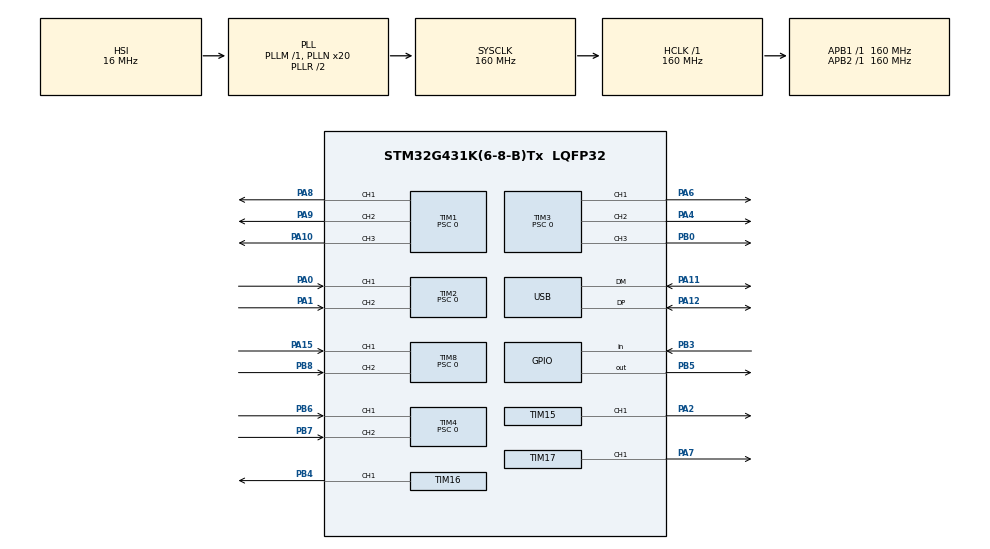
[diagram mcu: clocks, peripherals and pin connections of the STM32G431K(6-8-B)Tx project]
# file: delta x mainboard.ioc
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Mcu.Family=STM32G4
Mcu.Name=STM32G431K(6-8-B)Tx
Mcu.Package=LQFP32
NVIC.PriorityGroup=NVIC_PRIORITYGROUP_4
NVIC.TIM7_IRQn=true\:0\:0\:false\:false\:true\:true\:true
NVIC.USB_LP_IRQn=true\:0\:0\:false\:false\:true\:false\:true
PA0.Signal=S_TIM2_CH1
PA1.Signal=S_TIM2_CH2
PA10.Signal=S_TIM1_CH3
PA11.Mode=Device
PA11.Signal=USB_DM
PA12.Mode=Device
PA12.Signal=USB_DP
PA13.Mode=Serial_Wire
PA13.Signal=SYS_JTMS-SWDIO
PA14.Mode=Serial_Wire
PA14.Signal=SYS_JTCK-SWCLK
PA15.Signal=S_TIM8_CH1
PA2.Signal=S_TIM15_CH1
PA4.Signal=S_TIM3_CH2
PA6.Signal=S_TIM3_CH1
PA7.Signal=S_TIM17_CH1
PA8.Signal=S_TIM1_CH1
PA9.Signal=S_TIM1_CH2
PB0.Signal=S_TIM3_CH3
PB3.Signal=GPIO_Input
PB4.Signal=S_TIM16_CH1
PB5.Signal=GPIO_Output
PB6.Signal=S_TIM4_CH1
PB7.Signal=S_TIM4_CH2
PB8-BOOT0.Signal=S_TIM8_CH2
ProjectManager.HeapSize=0x200
ProjectManager.StackSize=0x400
ProjectManager.TargetToolchain=STM32CubeIDE
RCC.ADC12Freq_Value=160000000
RCC.AHBFreq_Value=160000000
RCC.APB1Freq_Value=160000000
RCC.APB1TimFreq_Value=160000000
RCC.APB2Freq_Value=160000000
RCC.APB2TimFreq_Value=160000000
RCC.CK48CLockSelection=RCC_USBCLKSOURCE_HSI48
RCC.CortexFreq_Value=160000000
RCC.EXTERNAL_CLOCK_VALUE=12288000
RCC.HCLKFreq_Value=160000000
RCC.HSE_VALUE=8000000
RCC.HSI48_VALUE=48000000
RCC.HSI_VALUE=16000000
RCC.LSE_VALUE=32768
RCC.PLLN=20
RCC.SYSCLKFreq_VALUE=160000000
RCC.SYSCLKSource=RCC_SYSCLKSOURCE_PLLCLK
RCC.USBFreq_Value=48000000
RCC.VCOOutputFreq_Value=320000000
SH.S_TIM15_CH1.0=TIM15_CH1,PWM Generation1 CH1
SH.S_TIM16_CH1.0=TIM16_CH1,PWM Generation1 CH1
SH.S_TIM17_CH1.0=TIM17_CH1,PWM Generation1 CH1
SH.S_TIM1_CH1.0=TIM1_CH1,PWM Generation1 CH1
SH.S_TIM1_CH2.0=TIM1_CH2,PWM Generation2 CH2
SH.S_TIM1_CH3.0=TIM1_CH3,PWM Generation3 CH3
SH.S_TIM2_CH1.0=TIM2_CH1,Encoder_Interface
SH.S_TIM2_CH2.0=TIM2_CH2,Encoder_Interface
SH.S_TIM3_CH1.0=TIM3_CH1,PWM Generation1 CH1
SH.S_TIM3_CH2.0=TIM3_CH2,PWM Generation2 CH2
SH.S_TIM3_CH3.0=TIM3_CH3,PWM Generation3 CH3
SH.S_TIM4_CH1.0=TIM4_CH1,Encoder_Interface
SH.S_TIM4_CH2.0=TIM4_CH2,Encoder_Interface
SH.S_TIM8_CH1.0=TIM8_CH1,Encoder_Interface
SH.S_TIM8_CH2.0=TIM8_CH2,Encoder_Interface
TIM1.Channel-PWM\ Generation1\ CH1=TIM_CHANNEL_1
TIM1.Channel-PWM\ Generation2\ CH2=TIM_CHANNEL_2
TIM1.Channel-PWM\ Generation3\ CH3=TIM_CHANNEL_3
TIM1.CounterMode=TIM_COUNTERMODE_UP
TIM1.Prescaler=0
TIM15.Channel-PWM\ Generation1\ CH1=TIM_CHANNEL_1
TIM15.Prescaler=0
TIM16.Channel=TIM_CHANNEL_1
TIM16.PeriodNoDither=65300
TIM16.Prescaler=48
TIM16.PulseNoDither_1=0
TIM17.Channel=TIM_CHANNEL_1
TIM17.PeriodNoDither=65300
TIM17.Prescaler=48
TIM2.EncoderMode=TIM_ENCODERMODE_TI12
TIM2.PeriodNoDither=65535
TIM2.Prescaler=0
TIM3.Channel-PWM\ Generation1\ CH1=TIM_CHANNEL_1
TIM3.Channel-PWM\ Generation2\ CH2=TIM_CHANNEL_2
TIM3.Channel-PWM\ Generation3\ CH3=TIM_CHANNEL_3
TIM3.Prescaler=0
TIM4.EncoderMode=TIM_ENCODERMODE_TI12
TIM4.Prescaler=0
TIM7.PeriodNoDither=63500
TIM7.Prescaler=20
TIM8.EncoderMode=TIM_ENCODERMODE_TI12
TIM8.Prescaler=0
USB_DEVICE.CLASS_NAME_FS=CDC
USB_DEVICE.VirtualMode=Cdc
USB_DEVICE.VirtualModeFS=Cdc_FS
VP_SYS_VS_DBSignals.Mode=DisableDeadBatterySignals
VP_TIM16_VS_ClockSourceINT.Mode=Enable_Timer
VP_TIM17_VS_ClockSourceINT.Mode=Enable_Timer
VP_TIM7_VS_ClockSourceINT.Mode=Enable_Timer
VP_USB_DEVICE_VS_USB_DEVICE_CDC_FS.Mode=CDC_FS
board=custom

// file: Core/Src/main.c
/* USER CODE BEGIN Header */
/**
 ******************************************************************************
 * @file           : main.c
 * @brief          : Main program body
 ******************************************************************************
 * @attention
 *
 * <h2><center>&copy; Copyright (c) 2020 STMicroelectronics.
 * All rights reserved.</center></h2>
 *
 * This software component is licensed by ST under BSD 3-Clause license,
 * the "License"; You may not use this file except in compliance with the
 * License. You may obtain a copy of the License at:
 *                        opensource.org/licenses/BSD-3-Clause
 *
 ******************************************************************************
 */
/* USER CODE END Header */
#include "main.h"
#include "usb_device.h"

TIM_HandleTypeDef htim1;
TIM_HandleTypeDef htim2;
TIM_HandleTypeDef htim3;
TIM_HandleTypeDef htim4;
TIM_HandleTypeDef htim7;
TIM_HandleTypeDef htim8;
TIM_HandleTypeDef htim15;
TIM_HandleTypeDef htim16;
TIM_HandleTypeDef htim17;

void SystemClock_Config(void);
static void MX_GPIO_Init(void);
static void MX_TIM4_Init(void);
static void MX_TIM8_Init(void);
static void MX_TIM15_Init(void);
static void MX_TIM16_Init(void);
static void MX_TIM1_Init(void);
static void MX_TIM2_Init(void);
static void MX_TIM3_Init(void);
static void MX_TIM7_Init(void);
static void MX_TIM17_Init(void);

/* USER CODE BEGIN 0 */

typedef struct Command {
	float motor1;
	float motor2;
	float motor3;
	float thrower;
	float servo;
	int32_t ir;
	float pGain;
	float iGain;
	float dGain;
	int32_t pid_type;
	int32_t delimiter;
} Command;

Command command, feedback;

volatile uint8_t command_received = 0;
volatile uint8_t command_received_ticker = 0;

volatile float pGain, iGain, dGain = 0;

void CDC_On_Receive(uint8_t *buffer, uint32_t *length) {
	if (*length == sizeof(Command)) {
		memcpy(&command, buffer, sizeof(Command));

		if (command.delimiter == 0xABCABC) {
			command_received = 1;
		}
	}
}

inline void Set_Motor_Speed_f(volatile uint32_t *channel_a,
		volatile uint32_t *channel_b, float motor_speed) {
	if (fabs(0 - motor_speed) > 0.1) {
		if (motor_speed > 0) {
			// forward
			if (motor_speed > 100) {
				motor_speed = 100;
			}
			*channel_a = motor_speed * 65000.0 / 100.0;
			*channel_b = 0;
		} else if (motor_speed < 0) {
			// backward
			if (motor_speed < -100) {
				motor_speed = -100;
			}
			*channel_b = motor_speed * -(65000.0 / 100.0);
			*channel_a = 0;
		}
	} else {
		// stop
		*channel_a = 0;
		*channel_b = 0;
	}
}

inline void Set_Thrower_Speed(volatile uint32_t *channel_a, float thrower_speed) {
	if (thrower_speed > 0) {
		// forward
		if (thrower_speed <= ESC_MAX_SPEED) {
			// 0 to 100 compact range
			*channel_a = thrower_speed * ESC_CO + ESC_MIN_CCR;
		}
	} else {
		// stop
		*channel_a = ESC_IDLE_CCR;
	}
}

inline void Set_Servo_Speed(volatile uint32_t *channel_a, float servo_speed,
		GPIO_PinState ir_status, int32_t ir_control) {
	if (!ir_status || (ir_status && ir_control)) {
		if (servo_speed > 0 && servo_speed <= SERVO_MAX_SPEED) {
			*channel_a = SERVO_IN_MIN_CCR - command.servo * SERVO_CO;
		} else if (command.servo < 0 && servo_speed >= -SERVO_MAX_SPEED) {
			*channel_a = command.servo * -SERVO_CO + SERVO_OUT_MIN_CCR;
		} else {
			*channel_a = 0;
		}
	}
}

Motor motor1;
Motor motor2;
Motor motor3;

inline void Calculate_PID(Motor *motor) {
// based on "PID Without a PhD" by Tim Wescott
// https://www.embeddedrelated.com/showarticle/943.php
	if (motor->target_speed > 0.1 || motor->target_speed < -0.1) {
		float pTerm, iTerm, dTerm;
//		if (command.pid_type == 0) {
//			pGain = 1;
//			iGain = 0.005;
//			dGain = 5;
//		} else {
//			pGain = 1;
//			iGain = 0.001;
//			dGain = 10;
//		}
		pGain = command.pGain;
		iGain = command.iGain;
		dGain = command.dGain;

		int error = 0;
		if (command.pid_type == 0) {
			error = motor->target_speed - motor->cur_enc_speed;
		} else {
			error = motor->target_speed - motor->enc_speed_hist_avg;
		}
		pTerm = error * pGain;

		motor->err_sum += error;
		motor->err_sum = clamp(-1000, 1000, motor->err_sum);
		iTerm = iGain * motor->err_sum;

		dTerm = dGain * (motor->prev_speed - motor->cur_enc_speed);
		motor->prev_speed = motor->cur_enc_speed;
		motor->cur_speed = motor->cur_speed + pTerm + iTerm + dTerm;
		motor->cur_speed = clamp(-100, 100, motor->cur_speed);
	} else {
		motor->cur_speed = 0;
	}
}

inline int Calculate_Encoder_Diff(uint16_t prev_pos, uint16_t cur_pos) {
	int diff = 0;
	if (prev_pos > ENCODER_QUADRANT_3 && cur_pos < ENCODER_QUADRANT) {
		// encoder counter overflow from high to low
		diff = 65535 - prev_pos + cur_pos;
	} else if (prev_pos < ENCODER_QUADRANT && cur_pos > ENCODER_QUADRANT_3) {
		// encoder counter overflow from low to high
		diff = -65535 + cur_pos - prev_pos;
	} else {
		// encoder didn't overflow
		diff = cur_pos - prev_pos;
	}
	return diff;	// clamp(-200, 200, diff) / 2;
}

void Handle_Encoder(Motor *motor, uint16_t count) {
	motor->cur_pos = count;
	motor->cur_enc_speed = Calculate_Encoder_Diff(motor->prev_pos,
			motor->cur_pos);
	motor->prev_pos = motor->cur_pos;

	motor->enc_speed_hist[motor->enc_speed_hist_cnt] = motor->cur_enc_speed;
	if (motor->enc_speed_hist_cnt >= 9) {
		motor->enc_speed_hist_cnt = 0;
	} else {
		motor->enc_speed_hist_cnt += 1;
	}

	int sum = 0;
	for (int i = 0; i < 10; i++) {
		sum += motor->enc_speed_hist[i];
	}
	motor->enc_speed_hist_avg = sum / 10;
}

/* USER CODE END 0 */

int main(void) {

	/* MCU Configuration--------------------------------------------------------*/

	/* Reset of all peripherals, Initializes the Flash interface and the Systick. */
	HAL_Init();

	/* Configure the system clock */
	SystemClock_Config();

	/* Initialize all configured peripherals */
	MX_GPIO_Init();
	MX_TIM4_Init();
	MX_TIM8_Init();
	MX_TIM15_Init();
	MX_TIM16_Init();
	MX_TIM1_Init();
	MX_TIM2_Init();
	MX_TIM3_Init();
	MX_TIM7_Init();
	MX_TIM17_Init();
	MX_USB_Device_Init();
	/* USER CODE BEGIN 2 */

	HAL_TIM_Encoder_Start(&htim2, TIM_CHANNEL_1 | TIM_CHANNEL_2);
	HAL_TIM_Encoder_Start(&htim4, TIM_CHANNEL_1 | TIM_CHANNEL_2);
	HAL_TIM_Encoder_Start(&htim8, TIM_CHANNEL_1 | TIM_CHANNEL_2);

	HAL_TIM_PWM_Start(&htim1, TIM_CHANNEL_1);
	HAL_TIM_PWM_Start(&htim1, TIM_CHANNEL_2);
	HAL_TIM_PWM_Start(&htim1, TIM_CHANNEL_3);
	TIM1->CCR1 = 0;
	TIM1->CCR2 = 0;
	TIM1->CCR3 = 0;

	HAL_TIM_PWM_Start(&htim3, TIM_CHANNEL_1);
	HAL_TIM_PWM_Start(&htim3, TIM_CHANNEL_2);
	HAL_TIM_PWM_Start(&htim3, TIM_CHANNEL_3);
	TIM3->CCR1 = 0;
	TIM3->CCR2 = 0;
	TIM3->CCR3 = 0;

	HAL_TIM_PWM_Start(&htim15, TIM_CHANNEL_1);
	HAL_TIM_PWM_Start(&htim16, TIM_CHANNEL_1);
	HAL_TIM_PWM_Start(&htim17, TIM_CHANNEL_1);
	TIM15->CCR1 = 0;
	TIM16->CCR1 = ESC_IDLE_CCR;
	TIM17->CCR1 = 0;

	HAL_TIM_Base_Start_IT(&htim7);

	CoreDebug->DEMCR |= CoreDebug_DEMCR_TRCENA_Msk;
	DWT->CYCCNT = 0;
	DWT->CTRL |= DWT_CTRL_CYCCNTENA_Msk;

	/* USER CODE END 2 */

	/* Infinite loop */
	while (1) {

		/* USER CODE BEGIN 3 */
		if (command_received == 1) {
			command_received = 0;
			command_received_ticker = 140;

			// toggle led
			HAL_GPIO_TogglePin(GPIOB, GPIO_PIN_5);

			feedback.ir = HAL_GPIO_ReadPin(GPIOB, GPIO_PIN_3);

			if (fabs(0 - command.motor1) < 0.1) {
				motor1.err_sum = 0;
			}
			if (fabs(0 - command.motor2) < 0.1) {
				motor2.err_sum = 0;
			}
			if (fabs(0 - command.motor3) < 0.1) {
				motor3.err_sum = 0;
			}
			motor1.target_speed = command.motor1;
			motor2.target_speed = command.motor2;
			motor3.target_speed = command.motor3;
//			pGain = command.pGain;
//			iGain = command.iGain;
//			dGain = command.dGain;

			Set_Thrower_Speed(&(TIM16->CCR1), command.thrower);

			Set_Servo_Speed(&(TIM17->CCR1), command.servo,
					HAL_GPIO_ReadPin(GPIOB, GPIO_PIN_3), command.ir);

			CDC_Transmit_FS(&feedback, sizeof(feedback));
		}
	}
	/* USER CODE END 3 */
}

void SystemClock_Config(void) {
	RCC_OscInitTypeDef RCC_OscInitStruct = { 0 };
	RCC_ClkInitTypeDef RCC_ClkInitStruct = { 0 };
	RCC_PeriphCLKInitTypeDef PeriphClkInit = { 0 };

	/** Configure the main internal regulator output voltage
	 */
	HAL_PWREx_ControlVoltageScaling(PWR_REGULATOR_VOLTAGE_SCALE1_BOOST);
	/** Initializes the RCC Oscillators according to the specified parameters
	 * in the RCC_OscInitTypeDef structure.
	 */
	RCC_OscInitStruct.OscillatorType = RCC_OSCILLATORTYPE_HSI
			| RCC_OSCILLATORTYPE_HSI48;
	RCC_OscInitStruct.HSIState = RCC_HSI_ON;
	RCC_OscInitStruct.HSICalibrationValue = RCC_HSICALIBRATION_DEFAULT;
	RCC_OscInitStruct.HSI48State = RCC_HSI48_ON;
	RCC_OscInitStruct.PLL.PLLState = RCC_PLL_ON;
	RCC_OscInitStruct.PLL.PLLSource = RCC_PLLSOURCE_HSI;
	RCC_OscInitStruct.PLL.PLLM = RCC_PLLM_DIV1;
	RCC_OscInitStruct.PLL.PLLN = 20;
	RCC_OscInitStruct.PLL.PLLP = RCC_PLLP_DIV2;
	RCC_OscInitStruct.PLL.PLLQ = RCC_PLLQ_DIV2;
	RCC_OscInitStruct.PLL.PLLR = RCC_PLLR_DIV2;
	if (HAL_RCC_OscConfig(&RCC_OscInitStruct) != HAL_OK) {
		Error_Handler();
	}
	/** Initializes the CPU, AHB and APB buses clocks
	 */
	RCC_ClkInitStruct.ClockType = RCC_CLOCKTYPE_HCLK | RCC_CLOCKTYPE_SYSCLK
			| RCC_CLOCKTYPE_PCLK1 | RCC_CLOCKTYPE_PCLK2;
	RCC_ClkInitStruct.SYSCLKSource = RCC_SYSCLKSOURCE_PLLCLK;
	RCC_ClkInitStruct.AHBCLKDivider = RCC_SYSCLK_DIV1;
	RCC_ClkInitStruct.APB1CLKDivider = RCC_HCLK_DIV1;
	RCC_ClkInitStruct.APB2CLKDivider = RCC_HCLK_DIV1;

	if (HAL_RCC_ClockConfig(&RCC_ClkInitStruct, FLASH_LATENCY_4) != HAL_OK) {
		Error_Handler();
	}
	/** Initializes the peripherals clocks
	 */
	PeriphClkInit.PeriphClockSelection = RCC_PERIPHCLK_USB;
	PeriphClkInit.UsbClockSelection = RCC_USBCLKSOURCE_HSI48;
	if (HAL_RCCEx_PeriphCLKConfig(&PeriphClkInit) != HAL_OK) {
		Error_Handler();
	}
}

static void MX_TIM1_Init(void) {

	TIM_MasterConfigTypeDef sMasterConfig = { 0 };
	TIM_OC_InitTypeDef sConfigOC = { 0 };
	TIM_BreakDeadTimeConfigTypeDef sBreakDeadTimeConfig = { 0 };

	htim1.Instance = TIM1;
	htim1.Init.Prescaler = 0;
	htim1.Init.CounterMode = TIM_COUNTERMODE_UP;
	htim1.Init.Period = 65535;
	htim1.Init.ClockDivision = TIM_CLOCKDIVISION_DIV1;
	htim1.Init.RepetitionCounter = 0;
	htim1.Init.AutoReloadPreload = TIM_AUTORELOAD_PRELOAD_DISABLE;
	if (HAL_TIM_PWM_Init(&htim1) != HAL_OK) {
		Error_Handler();
	}
	sMasterConfig.MasterOutputTrigger = TIM_TRGO_RESET;
	sMasterConfig.MasterOutputTrigger2 = TIM_TRGO2_RESET;
	sMasterConfig.MasterSlaveMode = TIM_MASTERSLAVEMODE_DISABLE;
	if (HAL_TIMEx_MasterConfigSynchronization(&htim1, &sMasterConfig)
			!= HAL_OK) {
		Error_Handler();
	}
	sConfigOC.OCMode = TIM_OCMODE_PWM1;
	sConfigOC.Pulse = 0;
	sConfigOC.OCPolarity = TIM_OCPOLARITY_HIGH;
	sConfigOC.OCNPolarity = TIM_OCNPOLARITY_HIGH;
	sConfigOC.OCFastMode = TIM_OCFAST_DISABLE;
	sConfigOC.OCIdleState = TIM_OCIDLESTATE_RESET;
	sConfigOC.OCNIdleState = TIM_OCNIDLESTATE_RESET;
	if (HAL_TIM_PWM_ConfigChannel(&htim1, &sConfigOC, TIM_CHANNEL_1)
			!= HAL_OK) {
		Error_Handler();
	}
	sConfigOC.Pulse = 0;
	if (HAL_TIM_PWM_ConfigChannel(&htim1, &sConfigOC, TIM_CHANNEL_2)
			!= HAL_OK) {
		Error_Handler();
	}
	sConfigOC.Pulse = 0;
	if (HAL_TIM_PWM_ConfigChannel(&htim1, &sConfigOC, TIM_CHANNEL_3)
			!= HAL_OK) {
		Error_Handler();
	}
	sBreakDeadTimeConfig.OffStateRunMode = TIM_OSSR_DISABLE;
	sBreakDeadTimeConfig.OffStateIDLEMode = TIM_OSSI_DISABLE;
	sBreakDeadTimeConfig.LockLevel = TIM_LOCKLEVEL_OFF;
	sBreakDeadTimeConfig.DeadTime = 0;
	sBreakDeadTimeConfig.BreakState = TIM_BREAK_DISABLE;
	sBreakDeadTimeConfig.BreakPolarity = TIM_BREAKPOLARITY_HIGH;
	sBreakDeadTimeConfig.BreakFilter = 0;
	sBreakDeadTimeConfig.BreakAFMode = TIM_BREAK_AFMODE_INPUT;
	sBreakDeadTimeConfig.Break2State = TIM_BREAK2_DISABLE;
	sBreakDeadTimeConfig.Break2Polarity = TIM_BREAK2POLARITY_HIGH;
	sBreakDeadTimeConfig.Break2Filter = 0;
	sBreakDeadTimeConfig.Break2AFMode = TIM_BREAK_AFMODE_INPUT;
	sBreakDeadTimeConfig.AutomaticOutput = TIM_AUTOMATICOUTPUT_DISABLE;
	if (HAL_TIMEx_ConfigBreakDeadTime(&htim1, &sBreakDeadTimeConfig)
			!= HAL_OK) {
		Error_Handler();
	}
	HAL_TIM_MspPostInit(&htim1);

}

static void MX_TIM2_Init(void) {

	TIM_Encoder_InitTypeDef sConfig = { 0 };
	TIM_MasterConfigTypeDef sMasterConfig = { 0 };

	htim2.Instance = TIM2;
	htim2.Init.Prescaler = 0;
	htim2.Init.CounterMode = TIM_COUNTERMODE_UP;
	htim2.Init.Period = 65535;
	htim2.Init.ClockDivision = TIM_CLOCKDIVISION_DIV1;
	htim2.Init.AutoReloadPreload = TIM_AUTORELOAD_PRELOAD_DISABLE;
	sConfig.EncoderMode = TIM_ENCODERMODE_TI12;
	sConfig.IC1Polarity = TIM_ICPOLARITY_RISING;
	sConfig.IC1Selection = TIM_ICSELECTION_DIRECTTI;
	sConfig.IC1Prescaler = TIM_ICPSC_DIV1;
	sConfig.IC1Filter = 0;
	sConfig.IC2Polarity = TIM_ICPOLARITY_RISING;
	sConfig.IC2Selection = TIM_ICSELECTION_DIRECTTI;
	sConfig.IC2Prescaler = TIM_ICPSC_DIV1;
	sConfig.IC2Filter = 0;
	if (HAL_TIM_Encoder_Init(&htim2, &sConfig) != HAL_OK) {
		Error_Handler();
	}
	sMasterConfig.MasterOutputTrigger = TIM_TRGO_RESET;
	sMasterConfig.MasterSlaveMode = TIM_MASTERSLAVEMODE_DISABLE;
	if (HAL_TIMEx_MasterConfigSynchronization(&htim2, &sMasterConfig)
			!= HAL_OK) {
		Error_Handler();
	}

}

static void MX_TIM3_Init(void) {

	TIM_MasterConfigTypeDef sMasterConfig = { 0 };
	TIM_OC_InitTypeDef sConfigOC = { 0 };

	htim3.Instance = TIM3;
	htim3.Init.Prescaler = 0;
	htim3.Init.CounterMode = TIM_COUNTERMODE_UP;
	htim3.Init.Period = 65535;
	htim3.Init.ClockDivision = TIM_CLOCKDIVISION_DIV1;
	htim3.Init.AutoReloadPreload = TIM_AUTORELOAD_PRELOAD_DISABLE;
	if (HAL_TIM_PWM_Init(&htim3) != HAL_OK) {
		Error_Handler();
	}
	sMasterConfig.MasterOutputTrigger = TIM_TRGO_RESET;
	sMasterConfig.MasterSlaveMode = TIM_MASTERSLAVEMODE_DISABLE;
	if (HAL_TIMEx_MasterConfigSynchronization(&htim3, &sMasterConfig)
			!= HAL_OK) {
		Error_Handler();
	}
	sConfigOC.OCMode = TIM_OCMODE_PWM1;
	sConfigOC.Pulse = 0;
	sConfigOC.OCPolarity = TIM_OCPOLARITY_HIGH;
	sConfigOC.OCFastMode = TIM_OCFAST_DISABLE;
	if (HAL_TIM_PWM_ConfigChannel(&htim3, &sConfigOC, TIM_CHANNEL_1)
			!= HAL_OK) {
		Error_Handler();
	}
	sConfigOC.Pulse = 0;
	if (HAL_TIM_PWM_ConfigChannel(&htim3, &sConfigOC, TIM_CHANNEL_2)
			!= HAL_OK) {
		Error_Handler();
	}
	sConfigOC.Pulse = 0;
	if (HAL_TIM_PWM_ConfigChannel(&htim3, &sConfigOC, TIM_CHANNEL_3)
			!= HAL_OK) {
		Error_Handler();
	}
	HAL_TIM_MspPostInit(&htim3);

}

static void MX_TIM4_Init(void) {

	TIM_Encoder_InitTypeDef sConfig = { 0 };
	TIM_MasterConfigTypeDef sMasterConfig = { 0 };

	htim4.Instance = TIM4;
	htim4.Init.Prescaler = 0;
	htim4.Init.CounterMode = TIM_COUNTERMODE_UP;
	htim4.Init.Period = 65535;
	htim4.Init.ClockDivision = TIM_CLOCKDIVISION_DIV1;
	htim4.Init.AutoReloadPreload = TIM_AUTORELOAD_PRELOAD_DISABLE;
	sConfig.EncoderMode = TIM_ENCODERMODE_TI12;
	sConfig.IC1Polarity = TIM_ICPOLARITY_RISING;
	sConfig.IC1Selection = TIM_ICSELECTION_DIRECTTI;
	sConfig.IC1Prescaler = TIM_ICPSC_DIV1;
	sConfig.IC1Filter = 0;
	sConfig.IC2Polarity = TIM_ICPOLARITY_RISING;
	sConfig.IC2Selection = TIM_ICSELECTION_DIRECTTI;
	sConfig.IC2Prescaler = TIM_ICPSC_DIV1;
	sConfig.IC2Filter = 0;
	if (HAL_TIM_Encoder_Init(&htim4, &sConfig) != HAL_OK) {
		Error_Handler();
	}
	sMasterConfig.MasterOutputTrigger = TIM_TRGO_RESET;
	sMasterConfig.MasterSlaveMode = TIM_MASTERSLAVEMODE_DISABLE;
	if (HAL_TIMEx_MasterConfigSynchronization(&htim4, &sMasterConfig)
			!= HAL_OK) {
		Error_Handler();
	}

}

static void MX_TIM7_Init(void) {

	TIM_MasterConfigTypeDef sMasterConfig = { 0 };

	htim7.Instance = TIM7;
	htim7.Init.Prescaler = 20;
	htim7.Init.CounterMode = TIM_COUNTERMODE_UP;
	htim7.Init.Period = 63500;
	htim7.Init.AutoReloadPreload = TIM_AUTORELOAD_PRELOAD_DISABLE;
	if (HAL_TIM_Base_Init(&htim7) != HAL_OK) {
		Error_Handler();
	}
	sMasterConfig.MasterOutputTrigger = TIM_TRGO_RESET;
	sMasterConfig.MasterSlaveMode = TIM_MASTERSLAVEMODE_DISABLE;
	if (HAL_TIMEx_MasterConfigSynchronization(&htim7, &sMasterConfig)
			!= HAL_OK) {
		Error_Handler();
	}

}

static void MX_TIM8_Init(void) {

	TIM_Encoder_InitTypeDef sConfig = { 0 };
	TIM_MasterConfigTypeDef sMasterConfig = { 0 };
	TIM_BreakDeadTimeConfigTypeDef sBreakDeadTimeConfig = { 0 };

	htim8.Instance = TIM8;
	htim8.Init.Prescaler = 0;
	htim8.Init.CounterMode = TIM_COUNTERMODE_UP;
	htim8.Init.Period = 65535;
	htim8.Init.ClockDivision = TIM_CLOCKDIVISION_DIV1;
	htim8.Init.RepetitionCounter = 0;
	htim8.Init.AutoReloadPreload = TIM_AUTORELOAD_PRELOAD_DISABLE;
	sConfig.EncoderMode = TIM_ENCODERMODE_TI12;
	sConfig.IC1Polarity = TIM_ICPOLARITY_RISING;
	sConfig.IC1Selection = TIM_ICSELECTION_DIRECTTI;
	sConfig.IC1Prescaler = TIM_ICPSC_DIV1;
	sConfig.IC1Filter = 0;
	sConfig.IC2Polarity = TIM_ICPOLARITY_RISING;
	sConfig.IC2Selection = TIM_ICSELECTION_DIRECTTI;
	sConfig.IC2Prescaler = TIM_ICPSC_DIV1;
	sConfig.IC2Filter = 0;
	if (HAL_TIM_Encoder_Init(&htim8, &sConfig) != HAL_OK) {
		Error_Handler();
	}
	sMasterConfig.MasterOutputTrigger = TIM_TRGO_RESET;
	sMasterConfig.MasterOutputTrigger2 = TIM_TRGO2_RESET;
	sMasterConfig.MasterSlaveMode = TIM_MASTERSLAVEMODE_DISABLE;
	if (HAL_TIMEx_MasterConfigSynchronization(&htim8, &sMasterConfig)
			!= HAL_OK) {
		Error_Handler();
	}
	sBreakDeadTimeConfig.BreakAFMode = TIM_BREAK_AFMODE_INPUT;
	sBreakDeadTimeConfig.Break2AFMode = TIM_BREAK_AFMODE_INPUT;
	if (HAL_TIMEx_ConfigBreakDeadTime(&htim8, &sBreakDeadTimeConfig)
			!= HAL_OK) {
		Error_Handler();
	}

}

static void MX_TIM15_Init(void) {

	TIM_MasterConfigTypeDef sMasterConfig = { 0 };
	TIM_OC_InitTypeDef sConfigOC = { 0 };
	TIM_BreakDeadTimeConfigTypeDef sBreakDeadTimeConfig = { 0 };

	htim15.Instance = TIM15;
	htim15.Init.Prescaler = 0;
	htim15.Init.CounterMode = TIM_COUNTERMODE_UP;
	htim15.Init.Period = 65535;
	htim15.Init.ClockDivision = TIM_CLOCKDIVISION_DIV1;
	htim15.Init.RepetitionCounter = 0;
	htim15.Init.AutoReloadPreload = TIM_AUTORELOAD_PRELOAD_DISABLE;
	if (HAL_TIM_PWM_Init(&htim15) != HAL_OK) {
		Error_Handler();
	}
	sMasterConfig.MasterOutputTrigger = TIM_TRGO_RESET;
	sMasterConfig.MasterSlaveMode = TIM_MASTERSLAVEMODE_DISABLE;
	if (HAL_TIMEx_MasterConfigSynchronization(&htim15, &sMasterConfig)
			!= HAL_OK) {
		Error_Handler();
	}
	sConfigOC.OCMode = TIM_OCMODE_PWM1;
	sConfigOC.Pulse = 0;
	sConfigOC.OCPolarity = TIM_OCPOLARITY_HIGH;
	sConfigOC.OCNPolarity = TIM_OCNPOLARITY_HIGH;
	sConfigOC.OCFastMode = TIM_OCFAST_DISABLE;
	sConfigOC.OCIdleState = TIM_OCIDLESTATE_RESET;
	sConfigOC.OCNIdleState = TIM_OCNIDLESTATE_RESET;
	if (HAL_TIM_PWM_ConfigChannel(&htim15, &sConfigOC, TIM_CHANNEL_1)
			!= HAL_OK) {
		Error_Handler();
	}
	sBreakDeadTimeConfig.OffStateRunMode = TIM_OSSR_DISABLE;
	sBreakDeadTimeConfig.OffStateIDLEMode = TIM_OSSI_DISABLE;
	sBreakDeadTimeConfig.LockLevel = TIM_LOCKLEVEL_OFF;
	sBreakDeadTimeConfig.DeadTime = 0;
	sBreakDeadTimeConfig.BreakState = TIM_BREAK_DISABLE;
	sBreakDeadTimeConfig.BreakPolarity = TIM_BREAKPOLARITY_HIGH;
	sBreakDeadTimeConfig.BreakFilter = 0;
	sBreakDeadTimeConfig.AutomaticOutput = TIM_AUTOMATICOUTPUT_DISABLE;
	if (HAL_TIMEx_ConfigBreakDeadTime(&htim15, &sBreakDeadTimeConfig)
			!= HAL_OK) {
		Error_Handler();
	}
	HAL_TIM_MspPostInit(&htim15);

}

static void MX_TIM16_Init(void) {

	TIM_OC_InitTypeDef sConfigOC = { 0 };
	TIM_BreakDeadTimeConfigTypeDef sBreakDeadTimeConfig = { 0 };

	htim16.Instance = TIM16;
	htim16.Init.Prescaler = 48;
	htim16.Init.CounterMode = TIM_COUNTERMODE_UP;
	htim16.Init.Period = 65300;
	htim16.Init.ClockDivision = TIM_CLOCKDIVISION_DIV1;
	htim16.Init.RepetitionCounter = 0;
	htim16.Init.AutoReloadPreload = TIM_AUTORELOAD_PRELOAD_DISABLE;
	if (HAL_TIM_Base_Init(&htim16) != HAL_OK) {
		Error_Handler();
	}
	if (HAL_TIM_PWM_Init(&htim16) != HAL_OK) {
		Error_Handler();
	}
	sConfigOC.OCMode = TIM_OCMODE_PWM1;
	sConfigOC.Pulse = 0;
	sConfigOC.OCPolarity = TIM_OCPOLARITY_HIGH;
	sConfigOC.OCNPolarity = TIM_OCNPOLARITY_HIGH;
	sConfigOC.OCFastMode = TIM_OCFAST_DISABLE;
	sConfigOC.OCIdleState = TIM_OCIDLESTATE_RESET;
	sConfigOC.OCNIdleState = TIM_OCNIDLESTATE_RESET;
	if (HAL_TIM_PWM_ConfigChannel(&htim16, &sConfigOC, TIM_CHANNEL_1)
			!= HAL_OK) {
		Error_Handler();
	}
	sBreakDeadTimeConfig.OffStateRunMode = TIM_OSSR_DISABLE;
	sBreakDeadTimeConfig.OffStateIDLEMode = TIM_OSSI_DISABLE;
	sBreakDeadTimeConfig.LockLevel = TIM_LOCKLEVEL_OFF;
	sBreakDeadTimeConfig.DeadTime = 0;
	sBreakDeadTimeConfig.BreakState = TIM_BREAK_DISABLE;
	sBreakDeadTimeConfig.BreakPolarity = TIM_BREAKPOLARITY_HIGH;
	sBreakDeadTimeConfig.BreakFilter = 0;
	sBreakDeadTimeConfig.AutomaticOutput = TIM_AUTOMATICOUTPUT_DISABLE;
	if (HAL_TIMEx_ConfigBreakDeadTime(&htim16, &sBreakDeadTimeConfig)
			!= HAL_OK) {
		Error_Handler();
	}
	HAL_TIM_MspPostInit(&htim16);

}

static void MX_TIM17_Init(void) {

	TIM_OC_InitTypeDef sConfigOC = { 0 };
	TIM_BreakDeadTimeConfigTypeDef sBreakDeadTimeConfig = { 0 };

	htim17.Instance = TIM17;
	htim17.Init.Prescaler = 48;
	htim17.Init.CounterMode = TIM_COUNTERMODE_UP;
	htim17.Init.Period = 65300;
	htim17.Init.ClockDivision = TIM_CLOCKDIVISION_DIV1;
	htim17.Init.RepetitionCounter = 0;
	htim17.Init.AutoReloadPreload = TIM_AUTORELOAD_PRELOAD_DISABLE;
	if (HAL_TIM_Base_Init(&htim17) != HAL_OK) {
		Error_Handler();
	}
	if (HAL_TIM_PWM_Init(&htim17) != HAL_OK) {
		Error_Handler();
	}
	sConfigOC.OCMode = TIM_OCMODE_PWM1;
	sConfigOC.Pulse = 0;
	sConfigOC.OCPolarity = TIM_OCPOLARITY_HIGH;
	sConfigOC.OCNPolarity = TIM_OCNPOLARITY_HIGH;
	sConfigOC.OCFastMode = TIM_OCFAST_DISABLE;
	sConfigOC.OCIdleState = TIM_OCIDLESTATE_RESET;
	sConfigOC.OCNIdleState = TIM_OCNIDLESTATE_RESET;
	if (HAL_TIM_PWM_ConfigChannel(&htim17, &sConfigOC, TIM_CHANNEL_1)
			!= HAL_OK) {
		Error_Handler();
	}
	sBreakDeadTimeConfig.OffStateRunMode = TIM_OSSR_DISABLE;
	sBreakDeadTimeConfig.OffStateIDLEMode = TIM_OSSI_DISABLE;
	sBreakDeadTimeConfig.LockLevel = TIM_LOCKLEVEL_OFF;
	sBreakDeadTimeConfig.DeadTime = 0;
	sBreakDeadTimeConfig.BreakState = TIM_BREAK_DISABLE;
	sBreakDeadTimeConfig.BreakPolarity = TIM_BREAKPOLARITY_HIGH;
	sBreakDeadTimeConfig.BreakFilter = 0;
	sBreakDeadTimeConfig.AutomaticOutput = TIM_AUTOMATICOUTPUT_DISABLE;
	if (HAL_TIMEx_ConfigBreakDeadTime(&htim17, &sBreakDeadTimeConfig)
			!= HAL_OK) {
		Error_Handler();
	}
	HAL_TIM_MspPostInit(&htim17);

}

static void MX_GPIO_Init(void) {
	GPIO_InitTypeDef GPIO_InitStruct = { 0 };

	/* GPIO Ports Clock Enable */
	__HAL_RCC_GPIOA_CLK_ENABLE();
	__HAL_RCC_GPIOB_CLK_ENABLE();

	/*Configure GPIO pin Output Level */
	HAL_GPIO_WritePin(GPIOB, GPIO_PIN_5, GPIO_PIN_RESET);

	/*Configure GPIO pin : PB3 */
	GPIO_InitStruct.Pin = GPIO_PIN_3;
	GPIO_InitStruct.Mode = GPIO_MODE_INPUT;
	GPIO_InitStruct.Pull = GPIO_NOPULL;
	HAL_GPIO_Init(GPIOB, &GPIO_InitStruct);

	/*Configure GPIO pin : PB5 */
	GPIO_InitStruct.Pin = GPIO_PIN_5;
	GPIO_InitStruct.Mode = GPIO_MODE_OUTPUT_PP;
	GPIO_InitStruct.Pull = GPIO_NOPULL;
	GPIO_InitStruct.Speed = GPIO_SPEED_FREQ_LOW;
	HAL_GPIO_Init(GPIOB, &GPIO_InitStruct);

}

/* USER CODE BEGIN 4 */
void HAL_TIM_PeriodElapsedCallback(TIM_HandleTypeDef *htim) {
//	unsigned long t1 = DWT->CYCCNT;

	Handle_Encoder(&motor1, TIM2->CNT);
	Handle_Encoder(&motor2, TIM4->CNT);
	Handle_Encoder(&motor3, TIM8->CNT);
	if (command.pid_type == 0) {
		feedback.motor1 = motor1.cur_enc_speed;
		feedback.motor2 = motor2.cur_enc_speed;
		feedback.motor3 = motor3.cur_enc_speed;
	} else {
		feedback.motor1 = motor1.enc_speed_hist_avg;
		feedback.motor2 = motor2.enc_speed_hist_avg;
		feedback.motor3 = motor3.enc_speed_hist_avg;
	}

	Calculate_PID(&motor1);
	Calculate_PID(&motor2);
	Calculate_PID(&motor3);
	Set_Motor_Speed_f(&(TIM1->CCR2), &(TIM1->CCR3), motor1.cur_speed);
	Set_Motor_Speed_f(&(TIM1->CCR1), &(TIM3->CCR3), motor2.cur_speed);
	Set_Motor_Speed_f(&(TIM3->CCR1), &(TIM3->CCR2), motor3.cur_speed);

// servo stopper
	if (HAL_GPIO_ReadPin(GPIOB, GPIO_PIN_3) && !command.ir) {
		TIM17->CCR1 = 0;
	}

// timeout
	if (command_received_ticker > 0) {
		command_received_ticker -= 1;
	} else {
		// stop wheels
		TIM1->CCR1 = 0;
		TIM1->CCR2 = 0;
		TIM1->CCR3 = 0;
		TIM3->CCR1 = 0;
		TIM3->CCR2 = 0;
		TIM3->CCR3 = 0;

		// stop thrower
		TIM16->CCR1 = ESC_IDLE_CCR;

		// stop servo
		TIM17->CCR1 = 0;
	}
//	unsigned long t2 = DWT->CYCCNT;
//	unsigned long diff = t2 - t1;
}
/* USER CODE END 4 */

void Error_Handler(void) {
}

/************************ (C) COPYRIGHT STMicroelectronics *****END OF FILE****/
